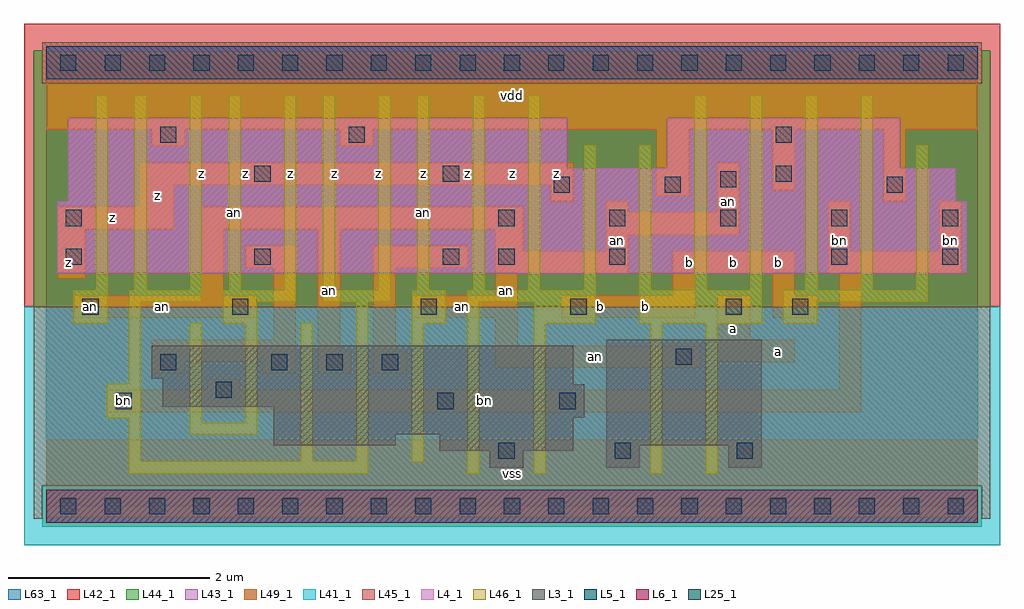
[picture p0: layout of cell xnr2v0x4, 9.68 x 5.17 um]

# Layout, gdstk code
import gdstk
lib = gdstk.Library(unit=1e-6, precision=1e-09)
def R(c, l, rs):  # rectangles x0, y0, x1, y1
    for r in rs: c.add(gdstk.rectangle(r[:2], r[2:], *l))
def A(c, l, x, y, w, h, nx, ny, dx, dy):  # array of equal rectangles
    R(c, l, [(x+i*dx, y+j*dy, x+i*dx+w, y+j*dy+h) for i in range(nx) for j in range(ny)])
L3_1 = (3, 1)
L4_1 = (4, 1)
L5_1 = (5, 1)
L6_1 = (6, 1)
L25_1 = (25, 1)
L41_1 = (41, 1)
L42_1 = (42, 1)
L43_1 = (43, 1)
L44_1 = (44, 1)
L45_1 = (45, 1)
L46_1 = (46, 1)
L49_1 = (49, 1)
L63_1 = (63, 1)

xnr2v0x4 = lib.new_cell('xnr2v0x4')
R(xnr2v0x4, L3_1, [(4.4,0.385,4.73,0.55), (5.555,0.385,5.885,0.605), (6.765,0.385,7.095,0.605), (3.905,0.55,5.225,0.715), (2.255,0.605,3.465,0.715), (5.555,0.605,7.095,1.65), (2.255,0.715,5.225,0.88), (2.255,0.88,5.335,0.99), (1.155,0.99,5.335,1.21), (1.155,1.21,5.225,1.265), (1.045,1.265,5.225,1.595)])
R(xnr2v0x4, L4_1, [(0.11,2.31,9.13,3.025), (0.22,3.025,9.02,3.355), (0.22,3.355,5.17,3.85), (6.16,3.355,8.47,3.85)])
R(xnr2v0x4, L5_1, [(0,4.235,9.24,4.565)])
R(xnr2v0x4, L6_1, [(0,-0.165,9.24,0.165)])
A(xnr2v0x4, L25_1, 0.14, -0.08, 0.16, 0.16, 21, 2, 0.44, 4.4)
A(xnr2v0x4, L25_1, 2.23, 1.35, 0.16, 0.16, 3, 1, 0.55, 0)
A(xnr2v0x4, L25_1, 0.195, 2.395, 0.16, 0.16, 3, 1, 1.87, 0)
A(xnr2v0x4, L25_1, 4.485, 2.78, 0.16, 0.16, 5, 1, 1.1, 0)
R(xnr2v0x4, L25_1, [(4.485,0.47,4.645,0.63), (5.64,0.47,5.8,0.63), (6.85,0.47,7.01,0.63), (0.69,0.965,0.85,1.125), (3.88,0.965,4.04,1.125), (5.09,0.965,5.25,1.125), (1.68,1.075,1.84,1.235), (1.13,1.35,1.29,1.51), (6.245,1.405,6.405,1.565), (0.36,1.9,0.52,2.06), (1.845,1.9,2.005,2.06), (3.715,1.9,3.875,2.06), (5.2,1.9,5.36,2.06), (6.74,1.9,6.9,2.06), (7.4,1.9,7.56,2.06), (4.485,2.395,4.645,2.555), (5.585,2.395,5.745,2.555), (7.785,2.395,7.945,2.555), (8.885,2.395,9.045,2.555), (0.195,2.78,0.355,2.94), (5.035,3.11,5.195,3.27), (6.135,3.11,6.295,3.27), (8.335,3.11,8.495,3.27), (6.685,3.165,6.845,3.325), (2.065,3.22,2.225,3.38), (3.935,3.22,4.095,3.38), (7.235,3.22,7.395,3.38), (1.13,3.605,1.29,3.765), (3,3.605,3.16,3.765), (7.235,3.605,7.395,3.765)])
R(xnr2v0x4, L41_1, [(-0.22,-0.385,9.46,1.98)])
R(xnr2v0x4, L42_1, [(-0.22,1.98,9.46,4.785)])
R(xnr2v0x4, L43_1, [(0,-0.165,9.24,0.165), (4.4,0.385,4.73,0.55), (5.555,0.385,5.885,0.605), (6.765,0.385,7.095,0.605), (3.905,0.55,5.225,0.715), (2.255,0.605,3.465,0.715), (5.555,0.605,7.095,1.65), (2.255,0.715,5.225,0.88), (2.255,0.88,5.335,0.99), (1.155,0.99,5.335,1.21), (1.155,1.21,5.225,1.265), (1.045,1.265,5.225,1.595), (0.11,2.31,9.13,3.025), (0.22,3.025,9.02,3.355), (0.22,3.355,5.17,3.85), (6.16,3.355,8.47,3.85), (0,4.235,9.24,4.565)])
R(xnr2v0x4, L44_1, [(-0.04,-0.205,9.28,0.205), (-0.125,1.98,9.365,4.195), (-0.125,4.195,-0.04,4.525), (9.28,4.195,9.365,4.525)])
R(xnr2v0x4, L45_1, [(-0.125,-0.125,-0.04,0.205), (9.28,-0.125,9.365,0.205), (-0.125,0.205,9.365,1.98), (-0.04,4.195,9.28,4.605)])
A(xnr2v0x4, L46_1, 3.68, 2.15, 0.12, 1.925, 3, 1, 0.55, 0)
A(xnr2v0x4, L46_1, 6.43, 2.15, 0.12, 1.925, 4, 1, 0.55, 0)
R(xnr2v0x4, L46_1, [(0.82,0.325,3.195,0.445), (4.175,0.325,4.295,2.03), (4.835,0.325,4.955,1.81), (5.99,0.325,6.11,1.81), (6.54,0.325,6.66,1.81), (3.625,0.435,3.745,1.81), (0.82,0.445,0.94,0.875), (2.525,0.445,2.645,1.82), (3.075,0.445,3.195,2.03), (1.425,0.71,2.095,0.83), (1.425,0.83,1.545,1.82), (1.975,0.83,2.095,1.81), (0.6,0.875,0.94,1.215), (0.82,1.215,0.94,2.03), (0.27,1.81,0.61,2.15), (1.755,1.81,2.095,2.03), (3.625,1.81,3.965,2.15), (4.835,1.81,5.45,2.03), (5.88,1.81,7.1,2.15), (7.31,1.81,7.65,2.03), (0.82,2.03,1.545,2.15), (1.755,2.03,2.48,2.15), (2.745,2.03,3.415,2.15), (4.175,2.03,5.45,2.15), (7.31,2.03,8.75,2.15), (0.49,2.15,0.61,4.075), (0.875,2.15,0.995,4.075), (1.425,2.15,1.545,4.075), (1.81,2.15,1.93,4.075), (2.36,2.15,2.48,4.075), (2.745,2.15,2.865,4.075), (3.295,2.15,3.415,4.075), (5.33,2.15,5.45,3.58), (5.88,2.15,6,3.58), (8.63,2.15,8.75,3.58)])
R(xnr2v0x4, L49_1, [(0,-0.11,9.24,0.66), (0.605,0.935,8.085,1.155), (1.595,1.155,1.925,1.265), (7.865,1.155,8.085,2.31), (1.045,1.32,1.375,1.43), (2.145,1.32,2.475,1.43), (2.695,1.32,3.025,1.54), (3.245,1.32,3.575,1.54), (4.455,1.375,6.49,1.595), (1.045,1.43,2.475,1.65), (6.655,1.43,7.425,1.65), (2.695,1.54,2.915,2.75), (3.245,1.54,3.465,2.365), (4.455,1.595,4.675,1.87), (2.255,1.65,2.475,2.365), (6.655,1.65,6.985,2.09), (0.275,1.87,2.09,2.09), (3.63,1.87,4.675,2.09), (5.115,1.87,6.435,2.09), (7.205,1.87,7.645,2.09), (1.54,2.09,1.76,2.75), (4.455,2.09,4.675,2.31), (6.215,2.09,6.435,2.31), (7.205,2.09,7.425,2.31), (0.11,2.255,0.385,2.75), (4.455,2.31,5.775,2.53), (6.215,2.31,7.425,2.53), (7.755,2.31,9.075,2.53), (1.98,2.365,2.475,2.585), (3.245,2.365,4.18,2.585), (4.455,2.53,4.73,2.75), (5.555,2.53,5.775,2.695), (7.755,2.53,7.975,3.025), (8.855,2.53,9.075,3.025), (5.555,2.695,6.875,2.915), (0.11,2.75,1.265,2.97), (1.54,2.75,4.73,2.97), (5.555,2.915,5.775,3.025), (6.655,2.915,6.875,3.41), (0.935,2.97,1.265,3.19), (5.005,3.025,5.225,3.19), (8.305,3.025,8.525,3.74), (6.05,3.08,6.38,3.74), (7.205,3.135,7.425,3.74), (0.935,3.19,5.225,3.41), (1.045,3.575,1.375,3.74), (2.915,3.575,3.245,3.74), (0,3.74,9.24,4.51)])
R(xnr2v0x4, L63_1, [(0,0,9.24,4.4)])
xnr2v0x4.add(gdstk.Label('bn', (0.77,1.045), layer=49, texttype=1))
xnr2v0x4.add(gdstk.Label('an', (0.44,1.98), layer=49, texttype=1))
xnr2v0x4.add(gdstk.Label('an', (1.87,2.915), layer=46, texttype=1))
xnr2v0x4.add(gdstk.Label('an', (3.74,2.915), layer=46, texttype=1))
xnr2v0x4.add(gdstk.Label('z', (0.22,2.42), layer=49, texttype=1))
xnr2v0x4.add(gdstk.Label('z', (0.66,2.86), layer=49, texttype=1))
xnr2v0x4.add(gdstk.Label('z', (1.54,3.3), layer=49, texttype=1))
xnr2v0x4.add(gdstk.Label('z', (1.1,3.08), layer=49, texttype=1))
xnr2v0x4.add(gdstk.Label('an', (1.155,1.98), layer=49, texttype=1))
xnr2v0x4.add(gdstk.Label('an', (2.805,2.145), layer=49, texttype=1))
xnr2v0x4.add(gdstk.Label('z', (3.3,3.3), layer=49, texttype=1))
xnr2v0x4.add(gdstk.Label('z', (2.86,3.3), layer=49, texttype=1))
xnr2v0x4.add(gdstk.Label('z', (2.42,3.3), layer=49, texttype=1))
xnr2v0x4.add(gdstk.Label('z', (1.98,3.3), layer=49, texttype=1))
xnr2v0x4.add(gdstk.Label('vss', (4.62,0.33), layer=49, texttype=1))
xnr2v0x4.add(gdstk.Label('an', (4.125,1.98), layer=49, texttype=1))
xnr2v0x4.add(gdstk.Label('an', (4.565,2.145), layer=49, texttype=1))
xnr2v0x4.add(gdstk.Label('z', (3.74,3.3), layer=49, texttype=1))
xnr2v0x4.add(gdstk.Label('z', (5.06,3.3), layer=49, texttype=1))
xnr2v0x4.add(gdstk.Label('z', (4.62,3.3), layer=49, texttype=1))
xnr2v0x4.add(gdstk.Label('z', (4.18,3.3), layer=49, texttype=1))
xnr2v0x4.add(gdstk.Label('vdd', (4.62,4.07), layer=49, texttype=1))
xnr2v0x4.add(gdstk.Label('an', (5.445,1.485), layer=49, texttype=1))
xnr2v0x4.add(gdstk.Label('a', (7.26,1.54), layer=49, texttype=1))
xnr2v0x4.add(gdstk.Label('a', (6.82,1.76), layer=49, texttype=1))
xnr2v0x4.add(gdstk.Label('b', (5.5,1.98), layer=49, texttype=1))
xnr2v0x4.add(gdstk.Label('b', (7.26,2.42), layer=49, texttype=1))
xnr2v0x4.add(gdstk.Label('b', (6.82,2.42), layer=49, texttype=1))
xnr2v0x4.add(gdstk.Label('b', (6.38,2.42), layer=49, texttype=1))
xnr2v0x4.add(gdstk.Label('b', (5.94,1.98), layer=49, texttype=1))
xnr2v0x4.add(gdstk.Label('an', (6.765,3.025), layer=49, texttype=1))
xnr2v0x4.add(gdstk.Label('an', (5.665,2.64), layer=49, texttype=1))
xnr2v0x4.add(gdstk.Label('bn', (4.345,1.045), layer=49, texttype=1))
xnr2v0x4.add(gdstk.Label('bn', (8.965,2.64), layer=49, texttype=1))
xnr2v0x4.add(gdstk.Label('bn', (7.865,2.64), layer=49, texttype=1))

lib.write_gds('xnr2v0x4.gds')
